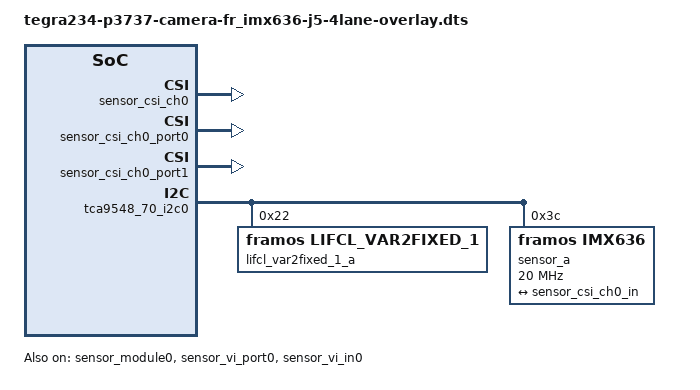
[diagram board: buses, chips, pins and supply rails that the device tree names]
// SPDX-License-Identifier: GPL-2.0
/*
 * Copyright (c) 2024 Framos. All rights reserved.
 *
 * tegra234-p3737-camera-fr_imx636-j5-4lane-overlay.dts - IMX636 sensor device tree
 */

/dts-v1/;
/plugin/;

#include <dt-bindings/clock/tegra234-clock.h>
#include <dt-bindings/gpio/tegra234-gpio.h>
#include <dt-bindings/tegra234-p3737-0000+p3701-0000.h>

/* TCA6408 Pxx bus-port define*/
#define CRESETB		1

/ {
	overlay-name = "Framos IMX636-J5-4Lane";
	jetson-header-name = "Jetson AGX CSI Connector";
	compatible = JETSON_COMPATIBLE;

	fragment@0 {
		target = <&sensor_module0>;
		__overlay__ {
			status = "okay";
			badge = "imx636_bottomleft_framos";
			drivernode0 {
				status = "okay";
				/* Declare PCL support driver (classically known as guid) */
				devname = "imx636 9-003c";
				/* Declare the device-tree hierarchy to driver instance */
				sysfs-device-tree = "/sys/firmware/devicetree/base/bus@0/i2c@3180000/tca9548@70/i2c@0/imx636_a@3c";
			};
		};
	};

	fragment@1 {
		target = <&sensor_vi_port0>;
		__overlay__ {
			status = "okay";
		};
	};

	fragment@2 {
		target = <&sensor_vi_in0>;
		__overlay__ {
			status = "okay";
			bus-width = <4>;
		};
	};

	fragment@3 {
		target = <&sensor_csi_ch0>;
		__overlay__ {
			status = "okay";
			ports {
				status = "okay";
			};
		};
	};

	fragment@4 {
		target = <&sensor_csi_ch0_port0>;
		__overlay__ {
			status = "okay";
		};
	};

	fragment@5 {
		target = <&sensor_csi_ch0_in>;
		__overlay__ {
			status = "okay";
			bus-width = <4>;
			remote-endpoint = <&sensor_out_a>;
		};
	};

	fragment@6 {
		target = <&sensor_csi_ch0_port1>;
		__overlay__ {
			status = "okay";
		};
	};

	fragment@7 {
		target = <&sensor_csi_ch0_out>;
		__overlay__ {
			status = "okay";
		};
	};

	fragment@8 {
		target = <&tca9548_70_i2c0>;
		__overlay__ {
			lifcl_var2fixed_1_a: lifcl_var2fixed_1_a@22 {
				compatible = "framos,lifcl_var2fixed_1";
				reg = <0x22>;
				device = "lifcl_var2fixed_1";
			};

			sensor_a: imx636_a@3c {
				compatible = "framos,imx636";
				reg = <0x3c>;

				/* Define any required hw resources needed by driver */
				/* ie. clocks, io pins, power sources */
				clocks = <&bpmp TEGRA234_CLK_EXTPERIPH1>, <&bpmp TEGRA234_CLK_EXTPERIPH1>;
				clock-names = "extperiph1", "pllp_grtba";
				mclk = "extperiph1";
				clock-frequency = <20000000>;
				lifcl_var2fixed_1-device = <&lifcl_var2fixed_1_a>;

				devnode = "video0";

				physical_w = "13.00";
				physical_h = "13.00";

				sensor_model ="imx636";

				/* Defines number of frames to be dropped by driver internally after applying */
				/* sensor crop settings. Some sensors send corrupt frames after applying */
				/* crop co-ordinates */
				post_crop_frame_drop = "0";

				/* Convert Gain to unit of dB (decibel) befor passing to kernel driver */
				use_decibel_gain = "true";

				/* if true, delay gain setting by one frame to be in sync with exposure */
				delayed_gain = "false";

				/* enable CID_SENSOR_MODE_ID for sensor modes selection */
				use_sensor_mode_id = "false";

				mode0 {
					mclk_khz = "20000";
					num_lanes = "4";
					tegra_sinterface = "serial_a";
					vc_id = "0";
					phy_mode = "DPHY";
					discontinuous_clk = "no";
					dpcm_enable = "false";
					cil_settletime = "0";
					active_w = "1024";
					active_h = "64";

					dynamic_pixel_bit_depth = "8";
					csi_pixel_bit_depth = "8";
					mode_type = "bayer";
					pixel_phase = "rggb";

					readout_orientation = "0";
					line_length = "8000";
					inherent_gain = "1";
					pix_clk_hz = "750000000";
					serdes_pix_clk_hz = "12000000000"; /* GMSL predefine */

					gain_factor = "10";
					min_gain_val = "0"; /* 0dB */
					max_gain_val = "480"; /* 48dB */
					step_gain_val = "1"; /* 0.1 */
					default_gain = "0";
					min_hdr_ratio = "1";
					max_hdr_ratio = "64";
					framerate_factor = "1000000";
					min_framerate = "1500000"; /* 1.5 */
					max_framerate = "500000000"; /* 500 */
					step_framerate = "1";
					default_framerate= "60000000";
					exposure_factor = "1000000";
					min_exp_time = "28"; /* us */
					max_exp_time = "660000"; /* us */
					step_exp_time = "1";
					default_exp_time = "27879";/* us */
					embedded_metadata_height = "0";
				};
				ports {
					#address-cells = <1>;
					#size-cells = <0>;
					port@0 {
						reg = <0>;
						sensor_out_a: endpoint {
							vc-id = <0>;
							port-index = <0>;
							bus-width = <4>;
							remote-endpoint = <&sensor_csi_ch0_in>;
						};
					};
				};
			};
		};
	};

};
